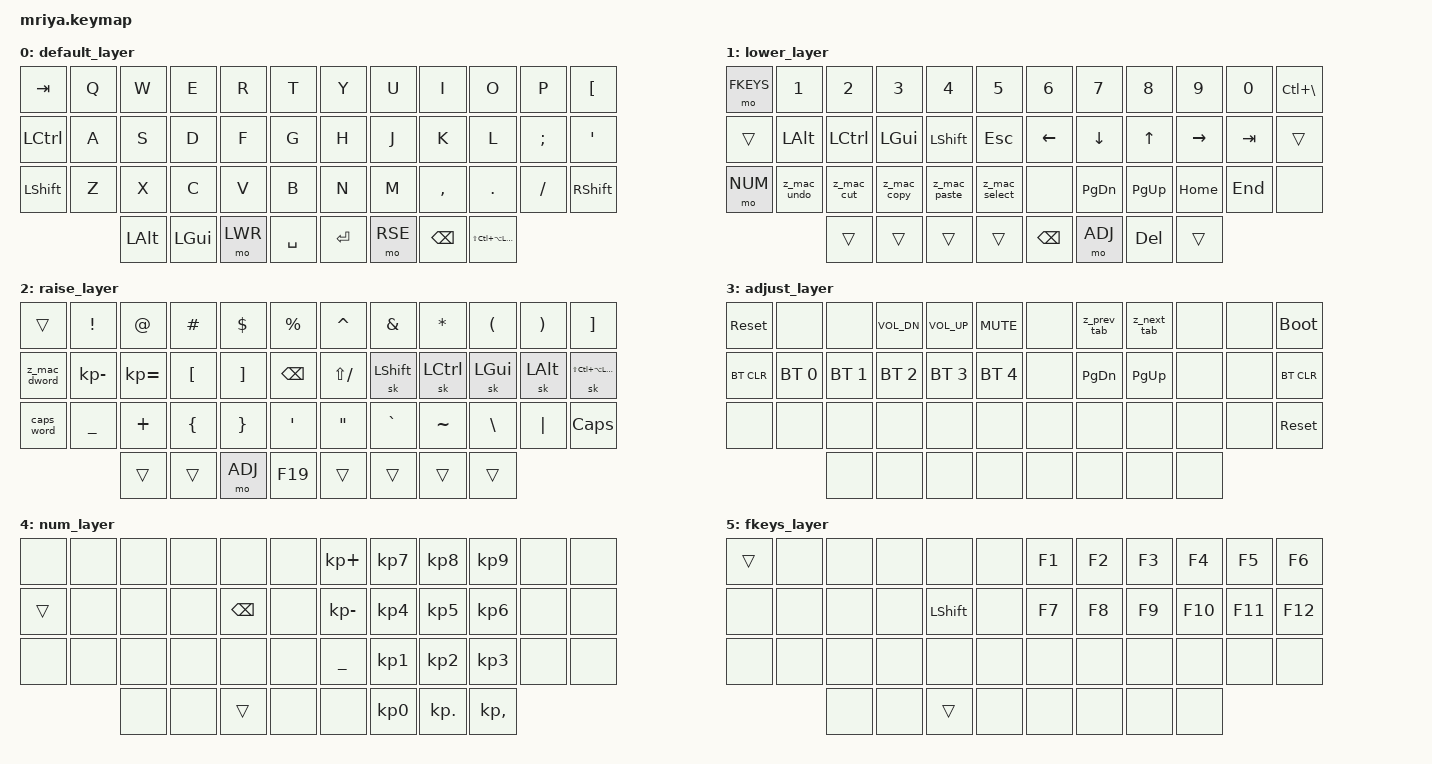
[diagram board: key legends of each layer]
/*
 * Copyright (c) 2023 Andrei Gaevskii
 *
 * SPDX-License-Identifier: MIT
 */

#include <behaviors.dtsi>
#include <dt-bindings/zmk/keys.h>
#include <dt-bindings/zmk/bt.h>

#define DEF 0
#define LWR 1
#define RSE 2
#define ADJ 3
#define NUM 4
#define FKEYS 5

&lt {
    quick_tap_ms = <200>;
};

&mt {
    quick_tap_ms = <200>;
};

&sk {
    release-after-ms = <2000>;
    quick-release;
};

/ {
    combos {
        compatible = "zmk,combos";
        combo_esc {
            timeout-ms = <20>;
            key-positions = <19 20>;
            bindings = <&kp ESC>;
        };
        combo_left {
            timeout-ms = <20>;
            key-positions = <16 17>;
            bindings = <&kp LS(LC(LA(LG(KP_N1))))>;
        };
        combo_right {
            timeout-ms = <20>;
            key-positions = <18 19>;
            bindings = <&kp LS(LC(LA(LG(KP_N2))))>;
        };
    };
    
    macros {
        z_mac_dword: z_mac_dword {
            label = "ZM_z_mac_dword";
            compatible = "zmk,behavior-macro";
            #binding-cells = <0>;
            bindings
                = <&macro_press &kp LALT>
                , <&macro_tap &kp BSPC>
                , <&macro_release &kp LALT>
                ;
        };
        z_mac_undo: z_mac_undo {
            label = "ZM_z_mac_undo";
            compatible = "zmk,behavior-macro";
            #binding-cells = <0>;
            bindings
                = <&macro_press &kp LGUI>
                , <&macro_tap &kp Z>
                , <&macro_release &kp LGUI>
                ;
        };
        z_mac_cut: z_mac_cut {
            label = "ZM_z_mac_cut";
            compatible = "zmk,behavior-macro";
            #binding-cells = <0>;
            bindings
                = <&macro_press &kp LGUI>
                , <&macro_tap &kp X>
                , <&macro_release &kp LGUI>
                ;
        };
        z_mac_copy: z_mac_copy {
            label = "ZM_z_mac_copy";
            compatible = "zmk,behavior-macro";
            #binding-cells = <0>;
            bindings
                = <&macro_press &kp LGUI>
                , <&macro_tap &kp C>
                , <&macro_release &kp LGUI>
                ;
        };
        z_mac_paste: z_mac_paste {
            label = "ZM_z_mac_paste";
            compatible = "zmk,behavior-macro";
            #binding-cells = <0>;
            bindings
                = <&macro_press &kp LGUI>
                , <&macro_tap &kp V>
                , <&macro_release &kp LGUI>
                ;
        };
        z_mac_select: z_mac_select {
            label = "ZM_z_mac_select";
            compatible = "zmk,behavior-macro";
            #binding-cells = <0>;
            bindings
                = <&macro_press &kp LGUI>
                , <&macro_tap &kp A>
                , <&macro_release &kp LGUI>
                ;
        };
        z_lw_dword: z_lw_dword {
            label = "ZM_z_lw_dword";
            compatible = "zmk,behavior-macro";
            #binding-cells = <0>;
            bindings
                = <&macro_press &kp LCTRL>
                , <&macro_tap &kp BSPC>
                , <&macro_release &kp LCTRL>
                ;
        };
        z_lw_undo: z_lw_undo {
            label = "ZM_z_lw_undo";
            compatible = "zmk,behavior-macro";
            #binding-cells = <0>;
            bindings
                = <&macro_press &kp LCTRL>
                , <&macro_tap &kp Z>
                , <&macro_release &kp LCTRL>
                ;
        };
        z_lw_cut: z_lw_cut {
            label = "ZM_z_.w_cut";
            compatible = "zmk,behavior-macro";
            #binding-cells = <0>;
            bindings
                = <&macro_press &kp LCTRL>
                , <&macro_tap &kp X>
                , <&macro_release &kp LCTRL>
                ;
        };
        z_lw_copy: z_lw_copy {
            label = "ZM_z_lw_copy";
            compatible = "zmk,behavior-macro";
            #binding-cells = <0>;
            bindings
                = <&macro_press &kp LCTRL>
                , <&macro_tap &kp C>
                , <&macro_release &kp LCTRL>
                ;
        };
        z_lw_paste: z_lw_paste {
            label = "ZM_z_lw_paste";
            compatible = "zmk,behavior-macro";
            #binding-cells = <0>;
            bindings
                = <&macro_press &kp LCTRL>
                , <&macro_tap &kp V>
                , <&macro_release &kp LCTRL>
                ;
        };
        z_lw_select: z_lw_select {
            label = "ZM_z_lw_select";
            compatible = "zmk,behavior-macro";
            #binding-cells = <0>;
            bindings
                = <&macro_press &kp LCTRL>
                , <&macro_tap &kp A>
                , <&macro_release &kp LCTRL>
                ;
        };
        z_next_tab: z_next_tab {
            label = "ZM_z_next_tab";
            compatible = "zmk,behavior-macro";
            #binding-cells = <0>;
            bindings
                = <&macro_press &kp LCTRL>
                , <&macro_tap &kp TAB>
                , <&macro_release &kp LCTRL>
                ;
        };
        z_prev_tab: z_prev_tab {
            label = "ZM_z_prev_tab";
            compatible = "zmk,behavior-macro";
            #binding-cells = <0>;
            bindings
                = <&macro_press &kp LCTRL>
                , <&macro_press &kp LSHFT>
                , <&macro_tap &kp TAB>
                , <&macro_release &kp LSHFT>
                , <&macro_release &kp LCTRL>
                ;
        };
    };

    keymap {
        compatible = "zmk,keymap";

        default_layer {
            bindings = <
            &kp TAB   &kp Q     &kp W      &kp E            &kp R      &kp T        &kp Y           &kp U      &kp I                   &kp O     &kp P       &kp LBKT
          &kp LCTRL   &kp A     &kp S      &kp D            &kp F      &kp G        &kp H           &kp J      &kp K                   &kp L  &kp SEMI        &kp SQT
          &kp LSHFT   &kp Z     &kp X      &kp C            &kp V      &kp B        &kp N           &kp M  &kp COMMA                 &kp DOT  &kp FSLH      &kp RSHFT
                             &kp LALT   &kp LGUI          &mo LWR    &kp SPC      &kp RET         &mo RSE   &kp BSPC    &kp LS(LC(LA(LGUI)))
            >;
        };

        lower_layer {
            bindings = <
             &mo FKEYS       &kp N1      &kp N2        &kp N3        &kp N4           &kp N5           &kp N6      &kp N7        &kp N8      &kp N9     &kp N0     &kp LC(BSLH)
                &trans     &kp LALT   &kp LCTRL      &kp LGUI     &kp LSHFT          &kp ESC         &kp LEFT    &kp DOWN        &kp UP   &kp RIGHT    &kp TAB           &trans
               &mo NUM  &z_mac_undo  &z_mac_cut   &z_mac_copy  &z_mac_paste    &z_mac_select            &none   &kp PG_DN     &kp PG_UP    &kp HOME    &kp END            &none
                                         &trans        &trans        &trans           &trans         &kp BSPC     &mo ADJ       &kp DEL    &trans
            >;
        };

        raise_layer {
            bindings = <
               &trans      &kp EXCL        &kp AT  &kp HASH  &kp DLLR    &kp PRCNT                      &kp CARET      &kp AMPS     &kp ASTRK    &kp LPAR         &kp RPAR               &kp RBKT
         &z_mac_dword  &kp KP_MINUS  &kp KP_EQUAL  &kp LBKT  &kp RBKT     &kp BSPC                   &kp LS(FSLH)    &sk LSHIFT     &sk LCTRL    &sk LGUI         &sk LALT   &sk LS(LC(LA(LGUI)))
           &caps_word     &kp UNDER      &kp PLUS  &kp LBRC  &kp RBRC      &kp SQT                        &kp DQT     &kp GRAVE     &kp TILDE    &kp BSLH         &kp PIPE               &kp CAPS
                                           &trans   &trans    &mo ADJ      &kp F19                         &trans        &trans        &trans      &trans
            >;
        };

        adjust_layer {
            bindings = <
           &sys_reset         &none         &none    &kp K_VOL_DN  &kp K_VOL_UP    &kp K_MUTE           &none   &z_prev_tab    &z_next_tab         &none    &none  &bootloader
           &bt BT_CLR  &bt BT_SEL 0  &bt BT_SEL 1    &bt BT_SEL 2  &bt BT_SEL 3  &bt BT_SEL 4           &none     &kp PG_DN      &kp PG_UP         &none    &none   &bt BT_CLR
                &none         &none         &none           &none         &none         &none           &none         &none          &none         &none    &none   &sys_reset
                                            &none           &none         &none         &none           &none         &none          &none         &none
            >;
        };

        num_layer {
            bindings = <
                &none   &none  &none  &none     &none    &none            &kp KP_PLUS   &kp KP_N7    &kp KP_N8         &kp KP_N9    &none  &none
               &trans   &none  &none  &none  &kp BSPC    &none           &kp KP_MINUS   &kp KP_N4    &kp KP_N5         &kp KP_N6    &none  &none
                &none   &none  &none  &none     &none    &none              &kp UNDER   &kp KP_N1    &kp KP_N2         &kp KP_N3    &none  &none
                               &none  &none    &trans    &none                  &none   &kp KP_N0    &kp KP_DOT        &kp KP_COMMA
            >;
        };

        fkeys_layer {
            bindings = <
               &trans   &none  &none  &none      &none    &none            &kp F1   &kp F2    &kp F3      &kp F4     &kp F5   &kp F6
                &none   &none  &none  &none  &kp LSHFT    &none            &kp F7   &kp F8    &kp F9     &kp F10    &kp F11  &kp F12
                &none   &none  &none  &none      &none    &none             &none    &none     &none       &none      &none    &none
                               &none  &none     &trans    &none             &none    &none     &none       &none
            >;
        };
    };
};
